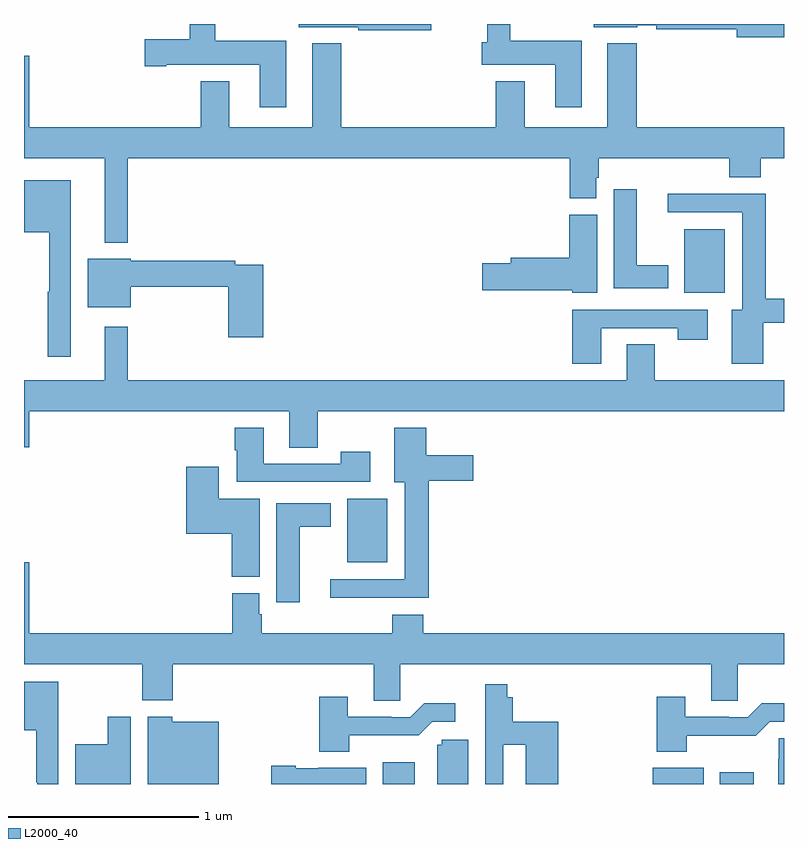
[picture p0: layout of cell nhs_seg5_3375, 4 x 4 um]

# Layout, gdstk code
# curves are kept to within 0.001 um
import gdstk
lib = gdstk.Library(unit=1e-6, precision=1e-09)
def R(c, l, rs):  # rectangles x0, y0, x1, y1
    for r in rs: c.add(gdstk.rectangle(r[:2], r[2:], *l))
def P(c, l, *ps):  # polygons
    for p in ps: c.add(gdstk.Polygon(p, *l))
L2000_40 = (2000, 40)

nhs_seg5_3375 = lib.new_cell('nhs_seg5_3375')
R(nhs_seg5_3375, L2000_40, [(310.887,854.799,311.056,854.914), (312.308,854.799,312.578,854.884), (312.663,854.799,312.841,854.86), (310.7,855.965,310.912,856.3), (312.476,857.384,312.688,857.719)])
P(nhs_seg5_3375, L2000_40, [(311.143,858.799),(310.445,858.799),(310.445,858.782),(310.758,858.782),(310.758,858.767),(311.143,858.767)],
  [(311.935,858.712),(311.56,858.712),(311.56,858.799),(311.438,858.799),(311.438,858.702),(311.408,858.702),(311.408,858.584),(311.795,858.584),(311.795,858.36),(311.935,858.36)],
  [(310.381,858.712),(310.006,858.712),(310.006,858.799),(309.872,858.799),(309.872,858.719),(309.636,858.719),(309.636,858.577),(309.748,858.577),(309.748,858.584),(310.241,858.584),(310.241,858.36),(310.381,858.36)],
  [(313,858.799),(311.999,858.799),(311.999,858.782),(312.228,858.782),(312.228,858.792),(312.328,858.792),(312.328,858.772),(312.752,858.772),(312.752,858.73),(313,858.73)],
  [(309.547,858.092),(311.873,858.092),(311.873,857.881),(312.013,857.881),(312.013,857.991),(312.026,857.991),(312.026,858.092),(312.713,858.092),(312.713,857.993),(312.878,857.993),(312.878,858.092),(313,858.092),(313,858.256),(312.224,858.256),(312.224,858.697),(312.071,858.697),(312.071,858.256),(311.635,858.256),(311.635,858.499),(311.483,858.499),(311.483,858.256),(310.67,858.256),(310.67,858.697),(310.517,858.697),(310.517,858.256),(310.081,858.256),(310.081,858.499),(309.929,858.499),(309.929,858.256),(309.028,858.256),(309.028,858.631),(309,858.631),(309,858.092),(309.425,858.092),(309.425,857.648),(309.547,857.648)],
  [(309.247,857.977),(309,857.977),(309,857.702),(309.133,857.702),(309.133,857.39),(309.126,857.39),(309.126,857.049),(309.247,857.049)],
  [(312.391,857.53),(312.226,857.53),(312.226,857.929),(312.104,857.929),(312.104,857.408),(312.391,857.408)],
  [(312.892,857.226),(313,857.226),(313,857.354),(312.905,857.354),(312.905,857.906),(312.387,857.906),(312.387,857.808),(312.779,857.808),(312.779,857.296),(312.725,857.296),(312.725,857.01),(312.892,857.01)],
  [(312.016,857.796),(311.87,857.796),(311.87,857.57),(311.561,857.57),(311.561,857.54),(311.412,857.54),(311.412,857.398),(311.886,857.398),(311.886,857.384),(312.016,857.384)],
  [(310.259,857.532),(310.112,857.532),(310.112,857.552),(309.562,857.552),(309.562,857.563),(309.335,857.563),(309.335,857.309),(309.562,857.309),(309.562,857.416),(310.076,857.416),(310.076,857.151),(310.259,857.151)],
  [(312.037,857.199),(312.442,857.199),(312.442,857.136),(312.598,857.136),(312.598,857.295),(311.885,857.295),(311.885,857.01),(312.037,857.01)],
  [(313,856.924),(312.321,856.924),(312.321,857.114),(312.173,857.114),(312.173,856.924),(309.547,856.924),(309.547,857.206),(309.425,857.206),(309.425,856.924),(309,856.924),(309,856.572),(309.028,856.572),(309.028,856.76),(310.397,856.76),(310.397,856.57),(310.545,856.57),(310.545,856.76),(313,856.76)],
  [(311.129,856.394),(311.365,856.394),(311.365,856.528),(311.116,856.528),(311.116,856.675),(310.949,856.675),(310.949,856.388),(311.003,856.388),(311.003,855.876),(310.611,855.876),(310.611,855.779),(311.129,855.779)],
  [(310.822,856.549),(310.666,856.549),(310.666,856.485),(310.261,856.485),(310.261,856.675),(310.109,856.675),(310.109,856.555),(310.121,856.555),(310.121,856.389),(310.822,856.389)],
  [(310.24,856.3),(310.024,856.3),(310.024,856.468),(309.854,856.468),(309.854,856.115),(310.094,856.115),(310.094,855.889),(310.24,855.889)],
  [(310.45,856.154),(310.615,856.154),(310.615,856.276),(310.328,856.276),(310.328,855.756),(310.45,855.756)],
  [(310.98,855.428),(312.617,855.428),(312.617,855.238),(312.756,855.238),(312.756,855.428),(313,855.428),(313,855.592),(311.102,855.592),(311.102,855.691),(310.937,855.691),(310.937,855.592),(310.25,855.592),(310.25,855.693),(310.237,855.693),(310.237,855.804),(310.097,855.804),(310.097,855.592),(309.028,855.592),(309.028,855.967),(309,855.967),(309,855.428),(309.622,855.428),(309.622,855.239),(309.782,855.239),(309.782,855.428),(310.841,855.428),(310.841,855.238),(310.98,855.238)],
  [(309.181,855.337),(309,855.337),(309,855.083),(309.065,855.083),(309.065,854.809),(309.069,854.809),(309.069,854.799),(309.181,854.799)],
  [(311.523,855.005),(311.642,855.005),(311.642,854.799),(311.813,854.799),(311.813,855.127),(311.573,855.127),(311.573,855.256),(311.543,855.256),(311.543,855.325),(311.427,855.325),(311.427,854.799),(311.523,854.799)],
  [(310.713,855.056),(311.077,855.056),(311.148,855.126),(311.269,855.126),(311.269,855.223),(311.107,855.223),(311.034,855.15),(310.934,855.15),(310.934,855.153),(310.705,855.153),(310.705,855.259),(310.553,855.259),(310.553,854.969),(310.713,854.969)],
  [(312.489,855.054),(312.851,855.053),(312.924,855.126),(313,855.126),(313,855.223),(312.883,855.223),(312.81,855.15),(312.71,855.15),(312.71,855.153),(312.481,855.153),(312.481,855.259),(312.329,855.259),(312.329,854.969),(312.489,854.969)],
  [(309.562,855.154),(309.44,855.154),(309.44,855.007),(309.269,855.007),(309.269,854.799),(309.562,854.799)],
  [(310.024,855.127),(309.78,855.127),(309.78,855.154),(309.65,855.154),(309.65,854.799),(310.024,854.799)],
  [(313,855.041),(312.972,855.041),(312.972,854.93),(312.971,854.93),(312.971,854.799),(313,854.799)],
  [(311.338,855.033),(311.199,855.033),(311.199,855.006),(311.174,855.006),(311.174,854.799),(311.338,854.799)],
  [(310.802,854.884),(310.548,854.884),(310.548,854.881),(310.431,854.881),(310.431,854.894),(310.302,854.894),(310.302,854.799),(310.802,854.799)])

lib.write_gds('nhs_seg5_3375.gds')
